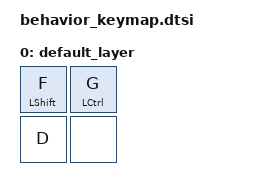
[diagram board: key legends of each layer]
#include <dt-bindings/zmk/keys.h>
#include <behaviors.dtsi>
#include <dt-bindings/zmk/kscan_mock.h>

/ {
	behaviors {
		hp: behavior_hold_preferred {
			compatible = "zmk,behavior-hold-tap";
			label = "MOD_TAP";
			#binding-cells = <2>;
			flavor = "hold-preferred";
			tapping-term-ms = <300>;
			quick-tap-ms = <300>;
			bindings = <&kp>, <&kp>;
			global-quick-tap;
		};
	};

	keymap {
		compatible = "zmk,keymap";
		label ="Default keymap";

		default_layer {
			bindings = <
				&hp LEFT_SHIFT F &hp LEFT_CONTROL G
				&kp D &none>;
		};
	};
};
